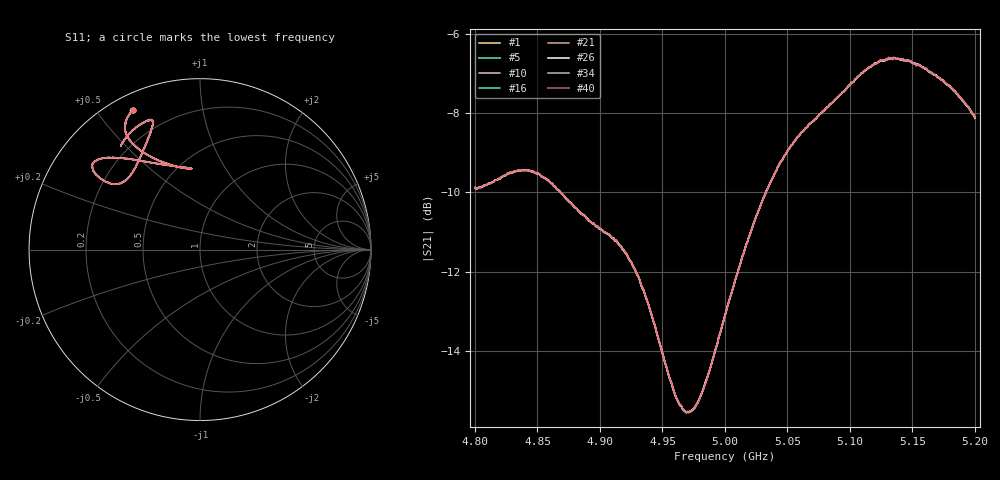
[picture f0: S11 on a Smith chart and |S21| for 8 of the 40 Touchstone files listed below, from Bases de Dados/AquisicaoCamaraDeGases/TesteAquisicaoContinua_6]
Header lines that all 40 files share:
! Network Analyzer HP8722D
! Hewlett-Packard
! Data name: Linha & Wilkinson
! Saver's name: Rodrigo Anjos
! Comments: Teste da utilização de aquisição
! continua pelo VNA HP8722D
!  Frequency  S11  S21  S12  S22
# HZ  S  MA R 50
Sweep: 4.8 GHz to 5.2 GHz
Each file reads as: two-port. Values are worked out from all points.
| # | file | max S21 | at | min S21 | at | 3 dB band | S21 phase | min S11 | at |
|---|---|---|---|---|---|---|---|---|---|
| 1 | teste_arseco&H20_100-50_80.S2P | -6.61 dB | 5.135 GHz | -15.5 dB | 4.97 GHz | 5.039 GHz-5.2 GHz | -148 deg at 5 GHz | -6.5 dB | 4.915 GHz |
| 2 | teste_arseco&H20_100-50_81.S2P | -6.61 dB | 5.135 GHz | -15.6 dB | 4.969 GHz | 5.039 GHz-5.2 GHz | -148 deg at 5 GHz | -6.5 dB | 4.916 GHz |
| 3 | teste_arseco&H20_100-50_82.S2P | -6.61 dB | 5.135 GHz | -15.5 dB | 4.969 GHz | 5.039 GHz-5.2 GHz | -148 deg at 5 GHz | -6.5 dB | 4.915 GHz |
| 4 | teste_arseco&H20_100-50_83.S2P | -6.60 dB | 5.135 GHz | -15.5 dB | 4.969 GHz | 5.039 GHz-5.2 GHz | -148 deg at 5 GHz | -6.5 dB | 4.915 GHz |
| 5 | teste_arseco&H20_100-50_84.S2P | -6.60 dB | 5.135 GHz | -15.5 dB | 4.971 GHz | 5.039 GHz-5.2 GHz | -148 deg at 5 GHz | -6.5 dB | 4.915 GHz |
| 6 | teste_arseco&H20_100-50_85.S2P | -6.59 dB | 5.135 GHz | -15.5 dB | 4.971 GHz | 5.039 GHz-5.2 GHz | -149 deg at 5 GHz | -6.5 dB | 4.918 GHz |
| 7 | teste_arseco&H20_100-50_86.S2P | -6.59 dB | 5.135 GHz | -15.5 dB | 4.969 GHz | 5.039 GHz-5.2 GHz | -148 deg at 5 GHz | -6.5 dB | 4.918 GHz |
| 8 | teste_arseco&H20_100-50_87.S2P | -6.60 dB | 5.135 GHz | -15.6 dB | 4.969 GHz | 5.039 GHz-5.2 GHz | -148 deg at 5 GHz | -6.5 dB | 4.916 GHz |
| 9 | teste_arseco&H20_100-50_88.S2P | -6.60 dB | 5.135 GHz | -15.5 dB | 4.969 GHz | 5.039 GHz-5.2 GHz | -148 deg at 5 GHz | -6.5 dB | 4.917 GHz |
| 10 | teste_arseco&H20_100-50_89.S2P | -6.60 dB | 5.135 GHz | -15.6 dB | 4.969 GHz | 5.039 GHz-5.2 GHz | -148 deg at 5 GHz | -6.5 dB | 4.919 GHz |
| 11 | teste_arseco&H20_100-50_90.S2P | -6.60 dB | 5.135 GHz | -15.5 dB | 4.97 GHz | 5.039 GHz-5.2 GHz | -148 deg at 5 GHz | -6.5 dB | 4.914 GHz |
| 12 | teste_arseco&H20_100-50_91.S2P | -6.59 dB | 5.135 GHz | -15.6 dB | 4.969 GHz | 5.039 GHz-5.2 GHz | -148 deg at 5 GHz | -6.5 dB | 4.915 GHz |
| 13 | teste_arseco&H20_100-50_92.S2P | -6.60 dB | 5.135 GHz | -15.5 dB | 4.972 GHz | 5.039 GHz-5.2 GHz | -148 deg at 5 GHz | -6.5 dB | 4.919 GHz |
| 14 | teste_arseco&H20_100-50_93.S2P | -6.61 dB | 5.135 GHz | -15.5 dB | 4.971 GHz | 5.039 GHz-5.2 GHz | -148 deg at 5 GHz | -6.5 dB | 4.915 GHz |
| 15 | teste_arseco&H20_100-50_94.S2P | -6.60 dB | 5.135 GHz | -15.5 dB | 4.969 GHz | 5.039 GHz-5.2 GHz | -148 deg at 5 GHz | -6.5 dB | 4.917 GHz |
| 16 | teste_arseco&H20_100-50_95.S2P | -6.61 dB | 5.131 GHz | -15.5 dB | 4.969 GHz | 5.039 GHz-5.2 GHz | -148 deg at 5 GHz | -6.5 dB | 4.919 GHz |
| 17 | teste_arseco&H20_100-50_96.S2P | -6.60 dB | 5.135 GHz | -15.6 dB | 4.969 GHz | 5.04 GHz-5.2 GHz | -149 deg at 5 GHz | -6.5 dB | 4.919 GHz |
| 18 | teste_arseco&H20_100-50_97.S2P | -6.60 dB | 5.135 GHz | -15.5 dB | 4.97 GHz | 5.039 GHz-5.2 GHz | -148 deg at 5 GHz | -6.5 dB | 4.918 GHz |
| 19 | teste_arseco&H20_100-50_98.S2P | -6.60 dB | 5.135 GHz | -15.6 dB | 4.969 GHz | 5.039 GHz-5.2 GHz | -148 deg at 5 GHz | -6.5 dB | 4.915 GHz |
| 20 | teste_arseco&H20_100-50_99.S2P | -6.61 dB | 5.133 GHz | -15.5 dB | 4.971 GHz | 5.039 GHz-5.2 GHz | -148 deg at 5 GHz | -6.5 dB | 4.922 GHz |
| 21 | teste_arseco&H20_100-50_100.S2P | -6.60 dB | 5.135 GHz | -15.5 dB | 4.97 GHz | 5.039 GHz-5.2 GHz | -148 deg at 5 GHz | -6.5 dB | 4.916 GHz |
| 22 | teste_arseco&H20_100-50_101.S2P | -6.60 dB | 5.133 GHz | -15.6 dB | 4.969 GHz | 5.039 GHz-5.2 GHz | -148 deg at 5 GHz | -6.5 dB | 4.919 GHz |
| 23 | teste_arseco&H20_100-50_102.S2P | -6.61 dB | 5.133 GHz | -15.6 dB | 4.969 GHz | 5.039 GHz-5.2 GHz | -148 deg at 5 GHz | -6.5 dB | 4.914 GHz |
| 24 | teste_arseco&H20_100-50_103.S2P | -6.61 dB | 5.133 GHz | -15.5 dB | 4.971 GHz | 5.039 GHz-5.2 GHz | -148 deg at 5 GHz | -6.5 dB | 4.918 GHz |
| 25 | teste_arseco&H20_100-50_104.S2P | -6.60 dB | 5.135 GHz | -15.5 dB | 4.969 GHz | 5.039 GHz-5.2 GHz | -148 deg at 5 GHz | -6.5 dB | 4.916 GHz |
| 26 | teste_arseco&H20_100-50_105.S2P | -6.60 dB | 5.133 GHz | -15.5 dB | 4.969 GHz | 5.039 GHz-5.2 GHz | -148 deg at 5 GHz | -6.5 dB | 4.915 GHz |
| 27 | teste_arseco&H20_100-50_106.S2P | -6.60 dB | 5.135 GHz | -15.5 dB | 4.969 GHz | 5.039 GHz-5.2 GHz | -148 deg at 5 GHz | -6.5 dB | 4.914 GHz |
| 28 | teste_arseco&H20_100-50_107.S2P | -6.60 dB | 5.135 GHz | -15.5 dB | 4.969 GHz | 5.039 GHz-5.2 GHz | -148 deg at 5 GHz | -6.5 dB | 4.917 GHz |
| 29 | teste_arseco&H20_100-50_108.S2P | -6.60 dB | 5.135 GHz | -15.5 dB | 4.969 GHz | 5.039 GHz-5.2 GHz | -148 deg at 5 GHz | -6.5 dB | 4.916 GHz |
| 30 | teste_arseco&H20_100-50_109.S2P | -6.59 dB | 5.133 GHz | -15.5 dB | 4.971 GHz | 5.039 GHz-5.2 GHz | -148 deg at 5 GHz | -6.5 dB | 4.917 GHz |
| 31 | teste_arseco&H20_100-50_110.S2P | -6.60 dB | 5.135 GHz | -15.5 dB | 4.969 GHz | 5.039 GHz-5.2 GHz | -148 deg at 5 GHz | -6.5 dB | 4.918 GHz |
| 32 | teste_arseco&H20_100-50_111.S2P | -6.60 dB | 5.135 GHz | -15.5 dB | 4.969 GHz | 5.039 GHz-5.2 GHz | -148 deg at 5 GHz | -6.5 dB | 4.913 GHz |
| 33 | teste_arseco&H20_100-50_112.S2P | -6.60 dB | 5.135 GHz | -15.6 dB | 4.969 GHz | 5.039 GHz-5.2 GHz | -148 deg at 5 GHz | -6.5 dB | 4.915 GHz |
| 34 | teste_arseco&H20_100-50_113.S2P | -6.60 dB | 5.135 GHz | -15.6 dB | 4.971 GHz | 5.039 GHz-5.2 GHz | -148 deg at 5 GHz | -6.5 dB | 4.915 GHz |
| 35 | teste_arseco&H20_100-50_114.S2P | -6.60 dB | 5.135 GHz | -15.6 dB | 4.97 GHz | 5.039 GHz-5.2 GHz | -148 deg at 5 GHz | -6.5 dB | 4.917 GHz |
| 36 | teste_arseco&H20_100-50_115.S2P | -6.60 dB | 5.135 GHz | -15.5 dB | 4.969 GHz | 5.039 GHz-5.2 GHz | -148 deg at 5 GHz | -6.5 dB | 4.915 GHz |
| 37 | teste_arseco&H20_100-50_116.S2P | -6.59 dB | 5.135 GHz | -15.5 dB | 4.969 GHz | 5.039 GHz-5.2 GHz | -148 deg at 5 GHz | -6.5 dB | 4.919 GHz |
| 38 | teste_arseco&H20_100-50_117.S2P | -6.60 dB | 5.136 GHz | -15.5 dB | 4.97 GHz | 5.039 GHz-5.2 GHz | -148 deg at 5 GHz | -6.5 dB | 4.92 GHz |
| 39 | teste_arseco&H20_100-50_118.S2P | -6.59 dB | 5.135 GHz | -15.6 dB | 4.969 GHz | 5.039 GHz-5.2 GHz | -148 deg at 5 GHz | -6.5 dB | 4.92 GHz |
| 40 | teste_arseco&H20_100-50_119.S2P | -6.59 dB | 5.131 GHz | -15.6 dB | 4.971 GHz | 5.039 GHz-5.2 GHz | -148 deg at 5 GHz | -6.5 dB | 4.915 GHz |
